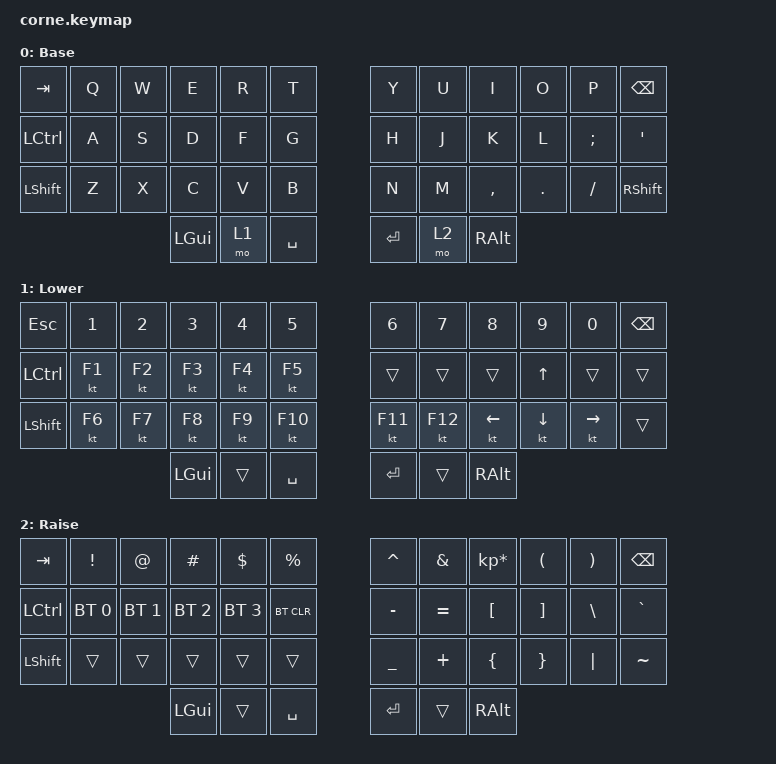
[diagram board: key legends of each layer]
/*
 * Copyright (c) 2020 The ZMK Contributors
 *
 * SPDX-License-Identifier: MIT
 */

#include <behaviors.dtsi>
#include <dt-bindings/zmk/bt.h>
#include <dt-bindings/zmk/keys.h>
#include <dt-bindings/zmk/keys.h>

/ {
    keymap {
        compatible = "zmk,keymap";

        default_layer {
            // -----------------------------------------------------------------------------------------
            // |  TAB |  Q  |  W  |  E  |  R  |  T  |   |  Y  |  U   |  I  |  O  |  P  | BKSP |
            // | CTRL |  A  |  S  |  D  |  F  |  G  |   |  H  |  J   |  K  |  L  |  ;  |  '   |
            // | SHFT |  Z  |  X  |  C  |  V  |  B  |   |  N  |  M   |  ,  |  .  |  /  | ESC  |
            //                    | GUI | LWR | SPC |   | ENT | RSE  | ALT |

            display-name = "Base";
            bindings = <
&kp TAB    &kp Q  &kp W  &kp E     &kp R  &kp T        &kp Y    &kp U  &kp I      &kp O    &kp P     &kp BSPC
&kp LCTRL  &kp A  &kp S  &kp D     &kp F  &kp G        &kp H    &kp J  &kp K      &kp L    &kp SEMI  &kp SQT
&kp LSHFT  &kp Z  &kp X  &kp C     &kp V  &kp B        &kp N    &kp M  &kp COMMA  &kp DOT  &kp FSLH  &kp RIGHT_SHIFT
                         &kp LGUI  &mo 1  &kp SPACE    &kp RET  &mo 2  &kp RALT
            >;
        };

        lower_layer {
            // -----------------------------------------------------------------------------------------
            // |  TAB |  1  |  2  |  3  |  4  |  5  |   |  6  |  7  |  8  |  9  |  0  | BKSP |
            // | BTCLR| BT1 | BT2 | BT3 | BT4 | BT5 |   | LFT | DWN |  UP | RGT |     |      |
            // | SHFT |     |     |     |     |     |   |     |     |     |     |     |      |
            //                    | GUI |     | SPC |   | ENT |     | ALT |

            display-name = "Lower";
            bindings = <
&kp ESCAPE  &kp N1  &kp N2  &kp N3    &kp N4  &kp N5       &kp N6   &kp N7   &kp N8          &kp N9          &kp N0           &kp BSPC
&kp LCTRL   &kt F1  &kt F2  &kt F3    &kt F4  &kt F5       &trans   &trans   &trans          &kp UP_ARROW    &trans           &trans
&kp LSHFT   &kt F6  &kt F7  &kt F8    &kt F9  &kt F10      &kt F11  &kt F12  &kt LEFT_ARROW  &kt DOWN_ARROW  &kt RIGHT_ARROW  &trans
                            &kp LGUI  &trans  &kp SPACE    &kp RET  &trans   &kp RALT
            >;
        };

        raise_layer {
            // -----------------------------------------------------------------------------------------
            // |  TAB |  !  |  @  |  #  |  $  |  %  |   |  ^  |  &  |  *  |  (  |  )  | BKSP |
            // | CTRL |     |     |     |     |     |   |  -  |  =  |  [  |  ]  |  \  |  `   |
            // | SHFT |     |     |     |     |     |   |  _  |  +  |  {  |  }  | "|" |  ~   |
            //                    | GUI |     | SPC |   | ENT |     | ALT |

            display-name = "Raise";
            bindings = <
&kp TAB    &kp EXCL      &kp AT        &kp HASH      &kp DLLR      &kp PRCNT     &kp CARET  &kp AMPS   &kp KP_MULTIPLY  &kp LPAR  &kp RPAR  &kp BSPC
&kp LCTRL  &bt BT_SEL 0  &bt BT_SEL 1  &bt BT_SEL 2  &bt BT_SEL 3  &bt BT_CLR    &kp MINUS  &kp EQUAL  &kp LBKT         &kp RBKT  &kp BSLH  &kp GRAVE
&kp LSHFT  &trans        &trans        &trans        &trans        &trans        &kp UNDER  &kp PLUS   &kp LBRC         &kp RBRC  &kp PIPE  &kp TILDE
                                       &kp LGUI      &trans        &kp SPACE     &kp RET    &trans     &kp RALT
            >;
        };
    };
};
